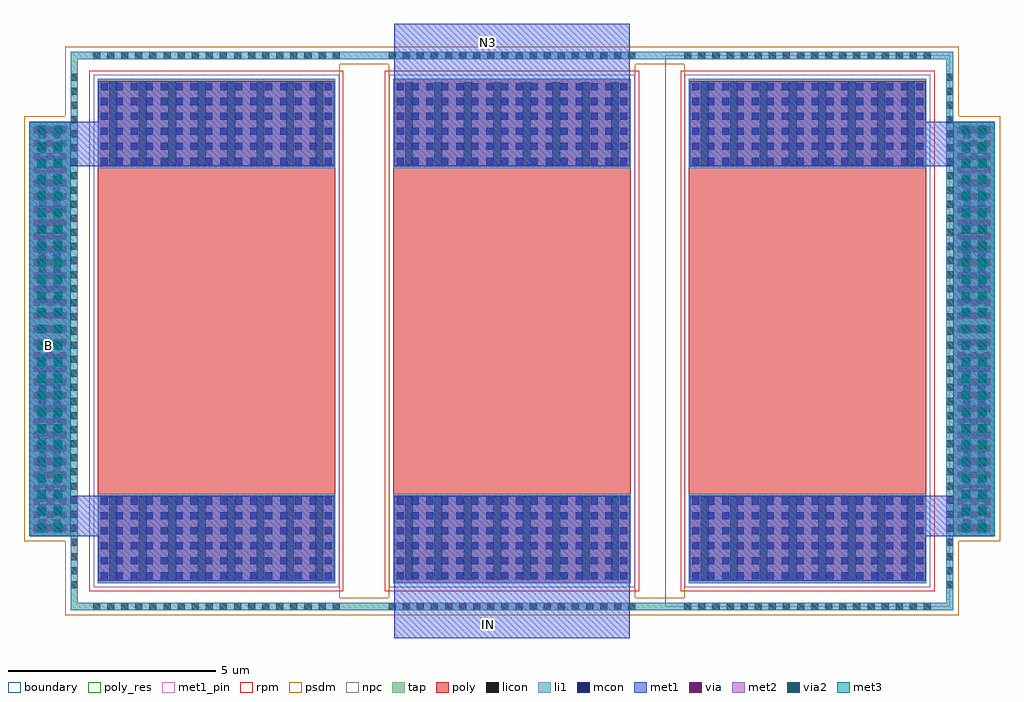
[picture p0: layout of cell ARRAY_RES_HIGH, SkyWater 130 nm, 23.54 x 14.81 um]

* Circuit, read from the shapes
.subckt ARRAY_RES_HIGH B IN N3
XR1 B B B sky130_fd_pr__res_high_po w=5.73 l=7.88 m=2
XR2 N3 IN B sky130_fd_pr__res_high_po w=5.73 l=7.88
.ends

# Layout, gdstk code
import gdstk
lib = gdstk.Library(unit=1e-6, precision=1e-09)
def R(c, l, rs):  # rectangles x0, y0, x1, y1
    for r in rs: c.add(gdstk.rectangle(r[:2], r[2:], *l))
def A(c, l, x, y, w, h, nx, ny, dx, dy):  # array of equal rectangles
    R(c, l, [(x+i*dx, y+j*dy, x+i*dx+w, y+j*dy+h) for i in range(nx) for j in range(ny)])
tap = (65, 44)
poly_res = (66, 13)
poly = (66, 20)
licon = (66, 44)
li1 = (67, 20)
mcon = (67, 44)
met1_pin = (68, 16)
met1 = (68, 20)
via = (68, 44)
met2 = (69, 20)
via2 = (69, 44)
met3 = (70, 20)
rpm = (86, 20)
psdm = (94, 20)
npc = (95, 20)
boundary = (235, 4)

vias_gen_23 = lib.new_cell('vias_gen$23')
R(vias_gen_23, tap, [(0,0,1,10)])
A(vias_gen_23, licon, 0.245, 0.155, 0.17, 0.17, 1, 29, 0, 0.34)
A(vias_gen_23, licon, 0.585, 0.155, 0.17, 0.17, 1, 29, 0, 0.34)
R(vias_gen_23, li1, [(0,0,1,10)])
A(vias_gen_23, mcon, 0.235, 0.235, 0.17, 0.17, 1, 27, 0, 0.36)
A(vias_gen_23, mcon, 0.595, 0.235, 0.17, 0.17, 1, 27, 0, 0.36)
R(vias_gen_23, met1, [(0,0,1,10)])
A(vias_gen_23, via, 0.105, 0.125, 0.15, 0.15, 3, 31, 0.32, 0.32)
R(vias_gen_23, met2, [(0,0,1,10)])
A(vias_gen_23, via2, 0.2, 0.1, 0.2, 0.2, 1, 25, 0, 0.4)
A(vias_gen_23, via2, 0.6, 0.1, 0.2, 0.2, 1, 25, 0, 0.4)
R(vias_gen_23, met3, [(0,0,1,10)])
R(vias_gen_23, psdm, [(-0.125,-0.125,1.125,10.125)])

array_res_high = lib.new_cell('ARRAY_RES_HIGH')
R(array_res_high, tap, [(-3.63,-6.73,17.66,-6.56), (-3.63,-6.56,-3.46,6.56), (17.49,-6.56,17.66,6.56), (-3.63,6.56,17.66,6.73)])
A(array_res_high, poly_res, -2.98, -4, 5.73, 8, 3, 1, 7.13, 0)
A(array_res_high, poly, -2.98, -6.08, 5.73, 12.16, 3, 1, 7.13, 0)
A(array_res_high, licon, -3.09, -6.73, 0.17, 0.17, 18, 2, 0.34, 13.29)
A(array_res_high, licon, 4.04, -6.73, 0.17, 0.17, 18, 2, 0.34, 13.29)
A(array_res_high, licon, 11.17, -6.73, 0.17, 0.17, 18, 2, 0.34, 13.29)
A(array_res_high, licon, -3.63, -6.205, 0.17, 0.17, 1, 37, 0, 0.34)
A(array_res_high, licon, 17.49, -6.205, 0.17, 0.17, 1, 37, 0, 0.34)
A(array_res_high, licon, -2.695, -6, 0.19, 2, 8, 2, 0.71, 10)
A(array_res_high, licon, 4.435, -6, 0.19, 2, 8, 2, 0.71, 10)
A(array_res_high, licon, 11.565, -6, 0.19, 2, 8, 2, 0.71, 10)
A(array_res_high, li1, -2.98, -6.08, 5.73, 2.16, 3, 2, 7.13, 10)
R(array_res_high, li1, [(-3.63,-6.73,17.66,-6.56), (-3.63,-6.56,-3.46,6.56), (17.49,-6.56,17.66,6.56), (-3.63,6.56,17.66,6.73)])
A(array_res_high, mcon, -2.9, -5.985, 0.17, 0.17, 16, 6, 0.36, 0.36)
A(array_res_high, mcon, 4.23, -5.985, 0.17, 0.17, 16, 6, 0.36, 0.36)
A(array_res_high, mcon, 11.36, -5.985, 0.17, 0.17, 16, 6, 0.36, 0.36)
A(array_res_high, mcon, -2.9, 4.01, 0.17, 0.17, 16, 6, 0.36, 0.36)
A(array_res_high, mcon, 4.23, 4.01, 0.17, 0.17, 16, 6, 0.36, 0.36)
A(array_res_high, mcon, 11.36, 4.01, 0.17, 0.17, 16, 6, 0.36, 0.36)
R(array_res_high, met1_pin, [(6.4,-7.135,6.5,-7.035), (-4.41,-0.615,-3.91,-0.1), (6.4,6.9,6.5,7)])
R(array_res_high, met1, [(4.17,-7.405,9.86,-3.97), (-2.96,-6.02,2.73,-4.95), (11.3,-6.02,16.99,-4.95), (-3.63,-4.95,2.73,-3.975), (11.3,-4.95,17.66,-3.975), (-4.41,-0.615,-3.91,-0.1), (4.17,3.97,9.86,7.405), (-3.63,3.975,2.73,5.05), (11.3,3.975,17.66,5.05), (-2.96,5.05,2.73,6.02), (11.3,5.05,16.99,6.02)])
A(array_res_high, rpm, -3.18, -6.28, 6.13, 12.56, 3, 1, 7.13, 0)
R(array_res_high, psdm, [(-3.755,-6.855,17.785,-6.435), (-3.755,-6.435,2.86,6.435), (4.04,-6.435,9.99,6.435), (11.17,-6.435,17.785,6.435), (-3.755,6.435,17.785,6.855)])
A(array_res_high, npc, -3.075, -6.175, 5.92, 12.35, 3, 1, 7.13, 0)
R(array_res_high, boundary, [(10.715,-6.645,17.575,6.645)])
array_res_high.add(gdstk.Reference(vias_gen_23, (17.66,-4.95)))
array_res_high.add(gdstk.Reference(vias_gen_23, (-4.63,-4.95)))
array_res_high.add(gdstk.Label('N3', (6.45,6.95), layer=68, texttype=5))
array_res_high.add(gdstk.Label('IN', (6.45,-7.085), layer=68, texttype=5))
array_res_high.add(gdstk.Label('B', (-4.16,-0.357), layer=68, texttype=5))

lib.write_gds('ARRAY_RES_HIGH.gds')
